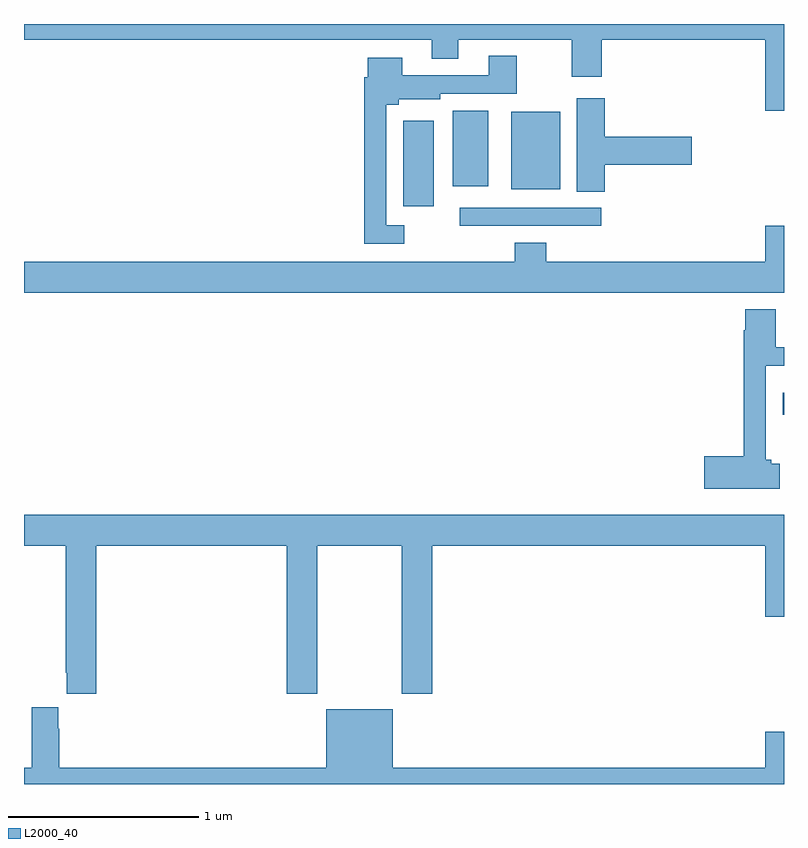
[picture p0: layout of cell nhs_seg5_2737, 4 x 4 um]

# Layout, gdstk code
import gdstk
lib = gdstk.Library(unit=1e-6, precision=1e-09)
def R(c, l, rs):  # rectangles x0, y0, x1, y1
    for r in rs: c.add(gdstk.rectangle(r[:2], r[2:], *l))
def P(c, l, *ps):  # polygons
    for p in ps: c.add(gdstk.Polygon(p, *l))
L2000_40 = (2000, 40)

nhs_seg5_2737 = lib.new_cell('nhs_seg5_2737')
R(nhs_seg5_2737, L2000_40, [(272.993,898.743,273,898.857), (271.293,899.736,272.038,899.832), (270.995,899.841,271.156,900.289), (271.565,899.93,271.822,900.337), (271.256,899.945,271.444,900.343)])
P(nhs_seg5_2737, L2000_40, [(273,900.799),(269,900.799),(269,900.716),(271.145,900.716),(271.145,900.617),(271.285,900.617),(271.285,900.716),(271.882,900.716),(271.882,900.522),(272.042,900.522),(272.042,900.716),(272.9,900.716),(272.9,900.342),(273,900.342)],
  [(271,899.739),(270.906,899.739),(270.906,900.374),(270.972,900.374),(270.972,900.404),(271.191,900.404),(271.191,900.432),(271.593,900.432),(271.593,900.631),(271.445,900.631),(271.445,900.528),(270.991,900.528),(270.991,900.622),(270.809,900.622),(270.809,900.518),(270.79,900.518),(270.79,899.643),(271,899.643)],
  [(272.057,900.059),(272.515,900.059),(272.515,900.206),(272.057,900.206),(272.057,900.409),(271.91,900.409),(271.91,899.917),(272.057,899.917)],
  [(273,899.737),(272.9,899.737),(272.9,899.548),(271.748,899.548),(271.748,899.647),(271.583,899.647),(271.583,899.548),(269,899.548),(269,899.384),(273,899.384)],
  [(272.977,898.484),(272.932,898.484),(272.932,898.506),(272.904,898.506),(272.904,899.001),(273,899.001),(273,899.097),(272.956,899.097),(272.956,899.299),(272.795,899.299),(272.795,899.186),(272.788,899.186),(272.788,898.523),(272.58,898.523),(272.58,898.352),(272.977,898.352)],
  [(269,898.052),(269.221,898.052),(269.221,897.385),(269.225,897.385),(269.225,897.273),(269.381,897.273),(269.381,898.052),(270.383,898.052),(270.383,897.273),(270.543,897.273),(270.543,898.052),(270.988,898.052),(270.988,897.273),(271.148,897.273),(271.148,898.052),(272.9,898.052),(272.9,897.678),(273,897.678),(273,898.216),(269,898.216)],
  [(273,897.073),(272.9,897.073),(272.9,896.884),(270.94,896.884),(270.94,897.193),(270.59,897.193),(270.59,896.884),(269.186,896.884),(269.186,897.089),(269.179,897.089),(269.179,897.202),(269.042,897.202),(269.042,896.884),(269,896.884),(269,896.799),(273,896.799)])

lib.write_gds('nhs_seg5_2737.gds')
